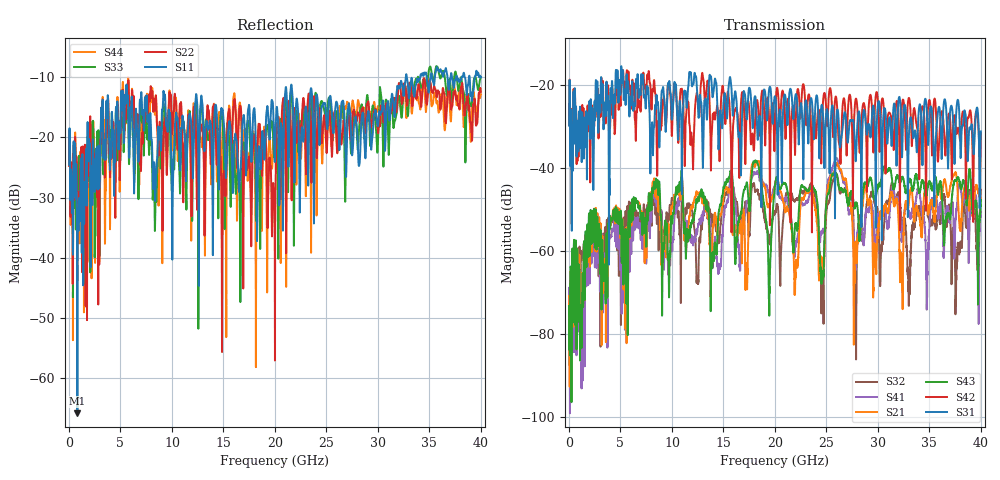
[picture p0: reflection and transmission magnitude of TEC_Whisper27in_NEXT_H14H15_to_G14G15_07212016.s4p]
! TE Connectivity
! H14H15-G14G15_NEXT
!! PART DESCRIPTION: Whisper 27in Megtron 6 HVLP-HVLP-HVLP Channel Model, bulkhead 2.92mm test points
!! MODEL DESCRIPTION: System 4-port S-parameter
!! MODEL STATUS: Measured
!! MODEL GEOMETRY: Channel Model
!! MODEL FREQUENCY RANGE: DC to 40 GHz in 10 MHz frequency steps
!! MODEL EDGE RATE LIMITATION: 12.5 ps (Using conservative 0.5/Fmax rule of thumb)
!! TIME-DOMAIN TRANSFORM CAUTIONS:
!! 1.) Do not simulate transient edge rates faster than the number listed above.  Edge
!!  rates faster than this number contain significant spectral content at frequencies
!!  above the model's highest frequency.
!! 2.) Even when simulating edge rates that are slower than the number listed above, be
!!  aware that the best time resolution possible with a direct iFFT is (1 / 2Fmax).
!!  As a result, time resolution is typically not adequate for most time-domain
!!  simulations unless tricks such as frequency-domain zero-padding and windowing are
!!  used to minimize leakage and aliasing.
!! 3.) Because the model has a uniform frequency step, a direct iFFT will result in an
!!  impulse that that has a time length given by either (1 / Fstep) or (1 / 2Fstep),
!!  depending on the transform being used.  Care has been taken in selecting the
!!  frequency step to ensure a settled impulse response for the model.  Therefore,
!!  convolution with the model's impulse response should present no issues.  However,
!!  if directly concatenating s-parameter models in the frequency domain a user must
!!  either interpolate necessary interim frequencies or complete impulse response
!!  zero-padding.  Impulse response zero-padding is more difficult, but more accurate.
!! PORT DEFINITIONS:
!! Port  1  ----->  Side A  H14  G14  Side B  <-----  Port  2
!! Port  3  ----->  Side A  H15  G15  Side B  <-----  Port  4
! Point-to-Point link (differential)  !
! Connectors:  !
!  1: STRADA Whisper 3.9mm  !
! Materials:  !
!  Backplane: Megtron-6 HVLP  !
!  Daughtercard: Megtron-6 HVLP  !
! Stack-up:  !
!  Backplane: 20 layers, 190mil thick  !
!  Daughtercard: 14 layers, 110mil thick  !
! Trace Length:  !
!  Backplane: 17in  !
!  Daughtercards: 5in  !
! Trace Width:  !
!  Backplane: 5.75-6.25-5.75 mils  !
!  Daughtercards: 6-9-6 mils  !
! Geometry:  !
!  Backplane: Stripline  !
!  Daughtercards: Stripline  !
! Layer Connections:  !
!  Backplane: Layer 16, counterbored(1-6mil stub)  !
!  Daughtercard: Layer 9, counterbored(1-6mil stub) !
! Freq. Range: 0 GHz - 40 GHz  !
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# hz S ma R 50
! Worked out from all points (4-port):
!   4000 points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, 10 MHz to 40 GHz, reference 50 ohm
!   strongest paths, dB at 10 MHz, 10.01 GHz, 20.01 GHz, 30.01 GHz, 40 GHz:
!     S31: -29.8, -28.2, -22.7, -24.4, -31.1
!     S42: -29.6, -31.1, -28.9, -24.4, -31.6
!     S43: -83.7, -53.2, -44.0, -44.3, -47.6
!     S21: -70.8, -49.5, -44.1, -55.3, -47.5
!     S41: -68.8, -58.7, -44.1, -51.9, -50.4
!     S32: -70.4, -47.3, -50.6, -51.7, -45.2
!   lowest |S11| = -65.8 dB at 810 MHz (marker M1), VSWR 1.00, Z = 50 - j0.0493 ohm
!   |S11| at or under -10 dB: start of sweep to 32.71 GHz; 32.81 GHz to 34.11 GHz (1.299 GHz wide, 3.88 % of centre); 38.91 GHz to 39.4 GHz (493 MHz wide, 1.26 % of centre)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
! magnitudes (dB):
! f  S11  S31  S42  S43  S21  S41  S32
! 10 MHz  -24.6  -29.8  -29.6  -83.7  -70.8  -68.8  -70.4
! 810 MHz  -65.8  -34.2  -37.1  -59.9  -59.9  -61.9  -60.5
! 17.24 GHz  -23.8  -28.0  -27.0  -43.5  -63.1  -48.5  -49.8
! 18.08 GHz  -17.4  -22.7  -28.4  -38.2  -39.5  -41.2  -45.7
! 22.04 GHz  -14.9  -22.2  -27.2  -53.2  -62.6  -57.5  -47.5
! 26.01 GHz  -14.2  -26.5  -24.3  -41.8  -38.9  -37.6  -41.6
! 40 GHz  -10.0  -31.1  -31.6  -47.6  -47.5  -50.4  -45.2
